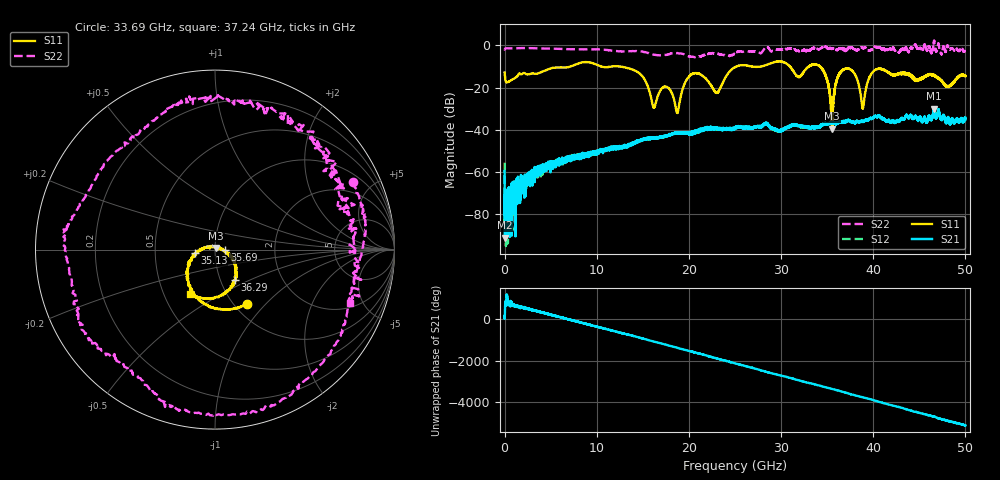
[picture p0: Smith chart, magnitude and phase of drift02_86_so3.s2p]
!Created with skrf (http://scikit-rf.org).
# Hz S RI R 50.0
!freq ReS11 ImS11 ReS21 ImS21 ReS12 ImS12 ReS22 ImS22
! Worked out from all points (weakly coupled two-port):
!   10001 points, 300 kHz to 50 GHz, reference 50 ohm
!   highest |S21| = -29.99 dB at 46.6 GHz (marker M1); lowest = -90.9 dB at 35.3 MHz (marker M2)
!   lowest |S11| = -39.5 dB at 35.53 GHz (marker M3), VSWR 1.02, Z = 50.7 + j0.85 ohm
!   |S11| at or under -10 dB: start of sweep to 7.18 GHz; 12.35 GHz to 25.18 GHz (12.83 GHz wide, 68.4 % of centre); 34.22 GHz to end of sweep (the widest 3 of 14)
!   |S22| runs from -5.7 to 2.3 dB; largest |S21 - S12| = 0.0044
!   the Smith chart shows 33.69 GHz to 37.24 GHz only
!   S11 on the Smith chart (normalised r, x): 33.69 GHz: 1.15, -0.79; 35.13 GHz: 0.80, -0.03; 35.69 GHz: 1.11, -0.01; 36.29 GHz: 1.17, -0.41; 37.24 GHz: 0.68, -0.36
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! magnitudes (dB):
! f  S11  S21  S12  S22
! 300 kHz  -12.9  -59.5  -55.5  -2.0
! 35.3 MHz  -14.5  -90.9  -75.8  -1.7
! 255.3 MHz  -17.6  -75.2  -71.3  -1.4
! 8.335 GHz  -8.2  -52.0  -52.9  -1.9
! 14.05 GHz  -11.8  -45.8  -45.9  -2.8
! 16.67 GHz  -23.5  -43.5  -43.7  -4.7
! 18.74 GHz  -32.0  -41.3  -41.4  -3.7
! 20.25 GHz  -13.9  -41.7  -41.4  -5.4
! 23.04 GHz  -22.5  -39.4  -39.3  -4.1
! 25 GHz  -10.3  -39.1  -39.2  -3.9
! 33.34 GHz  -9.3  -38.9  -39.1  -1.5
! 33.69 GHz  -9.1  -38.6  -38.7  -1.4
! 35.13 GHz  -18.7  -37.2  -37.3  -1.7
! 35.53 GHz  -39.5  -36.7  -36.8  -1.7
! 35.69 GHz  -25.5  -36.7  -36.6  -1.4
! 36.29 GHz  -14.0  -36.5  -36.7  -1.6
! 37.24 GHz  -11.0  -35.4  -35.8  -1.8
! 38.87 GHz  -29.8  -36.1  -35.8  -1.3
! 39.96 GHz  -12.7  -34.5  -34.4  -1.9
! 41.67 GHz  -12.9  -35.5  -35.7  -2.0
! 46.6 GHz  -14.4  -30.0  -30.3  1.9
! 50 GHz  -14.6  -34.3  -34.6  -2.7
